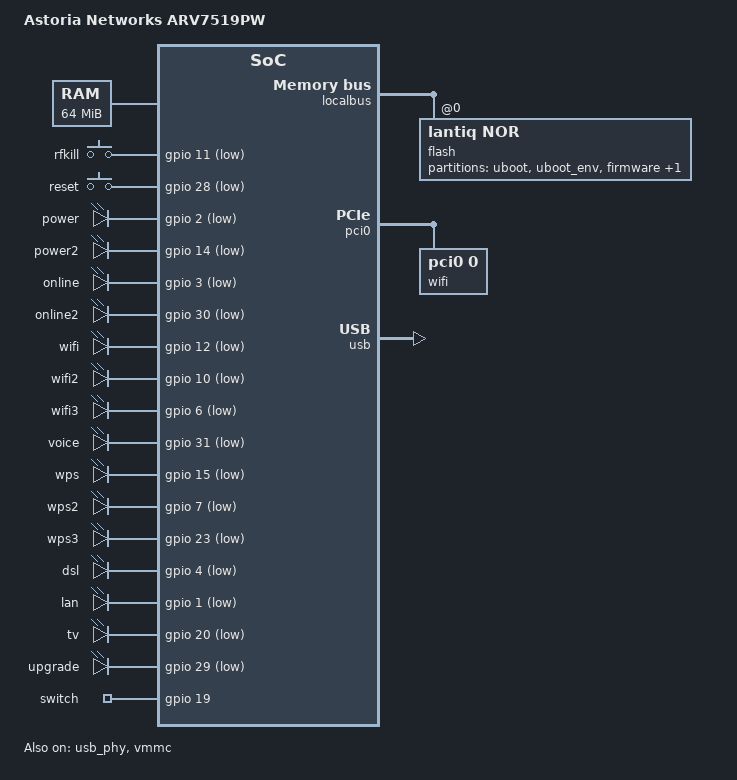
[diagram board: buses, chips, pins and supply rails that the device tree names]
/dts-v1/;

#include "danube.dtsi"

#include <dt-bindings/input/input.h>

/ {
	compatible = "arcadyan,arv7519pw", "lantiq,xway", "lantiq,danube";
	model = "Astoria Networks ARV7519PW";

	chosen {
		bootargs = "console=ttyLTQ0,115200";
	};

	aliases {
		led-boot = &power;
		led-failsafe = &power2;
		led-running = &power;
		led-upgrade = &power;

		led-dsl = &dsl;
		led-internet = &online;
		led-wifi = &wifi;
	};

	memory@0 {
		device_type = "memory";
		reg = <0x0 0x4000000>;
	};

	keys {
		compatible = "gpio-keys-polled";
		poll-interval = <100>;

		rfkill {
			label = "rfkill";
			gpios = <&gpio 11 GPIO_ACTIVE_LOW>;
			linux,code = <KEY_RFKILL>;
		};
		reset {
			label = "reset";
			gpios = <&gpio 28 GPIO_ACTIVE_LOW>;
			linux,code = <KEY_RESTART>;
		};
	};

	leds {
		compatible = "gpio-leds";
		power: power {
			label = "power";
			gpios = <&gpio 2 GPIO_ACTIVE_LOW>;
			default-state = "keep";
		};
		power2: power2 {
			label = "power2";
			gpios = <&gpio 14 GPIO_ACTIVE_LOW>;
		};
		online: online {
			label = "online";
			gpios = <&gpio 3 GPIO_ACTIVE_LOW>;
		};
		online2 {
			label = "online2";
			gpios = <&gpio 30 GPIO_ACTIVE_LOW>;
		};
		wifi: wifi {
			label = "wifi";
			gpios = <&gpio 12 GPIO_ACTIVE_LOW>;
		};
		wifi2 {
			label = "wifi2";
			gpios = <&gpio 10 GPIO_ACTIVE_LOW>;
		};
		wifi3 {
			label = "wifi3";
			gpios = <&gpio 6 GPIO_ACTIVE_LOW>;
		};
		voice {
			label = "voice";
			gpios = <&gpio 31 GPIO_ACTIVE_LOW>;
		};
		wps {
			label = "wps";
			gpios = <&gpio 15 GPIO_ACTIVE_LOW>;
		};
		wps2 {
			label = "wps2";
			gpios = <&gpio 7 GPIO_ACTIVE_LOW>;
		};
		wps3 {
			label = "wps3";
			gpios = <&gpio 23 GPIO_ACTIVE_LOW>;
		};
		dsl: dsl {
			label = "dsl";
			gpios = <&gpio 4 GPIO_ACTIVE_LOW>;
		};
		lan {
			label = "lan";
			gpios = <&gpio 1 GPIO_ACTIVE_LOW>;
		};
		tv {
			label = "tv";
			gpios = <&gpio 20 GPIO_ACTIVE_LOW>;
		};
		upgrade {
			label = "upgrade";
			gpios = <&gpio 29 GPIO_ACTIVE_LOW>;
		};
	};

	/* is there another way to "reserve" the GPIO? */
	gpio_export {
		compatible = "gpio-export";
		#size-cells = <0>;

		switch {
			gpio-export,name = "switch";
			gpio-export,output = <1>;
			gpios = <&gpio 19 GPIO_ACTIVE_HIGH>;
		};
	};
};

&gpio {
	pinctrl-names = "default";
	pinctrl-0 = <&state_default>;

	state_default: pinmux {
		ebu {
			lantiq,groups = "ebu cs1";
			lantiq,function = "ebu";
		};
		pci_in {
			lantiq,groups = "req1";
			lantiq,function = "pci";
			lantiq,open-drain = <1>;
			lantiq,pull = <2>;
			lantiq,output = <0>;
		};
		pci_out {
			lantiq,groups = "gnt1";
			lantiq,function = "pci";
			lantiq,pull = <0>;
			lantiq,output = <1>;
		};
		pci_rst {
			lantiq,pins = "io21";
			lantiq,pull = <2>;
			lantiq,output = <1>;
		};
		switch_rst {
			lantiq,pins = "io19";
			lantiq,pull = <2>;
			lantiq,output = <1>;
		};
	};
};

&gsw {
	phy-mode = "mii";
	mtd-mac-address = <&boardconfig 0x16>;
};

&localbus {
	flash@0 {
		compatible = "lantiq,nor";
		bank-width = <2>;
		reg = <0 0x0 0x2000000>;

		partitions {
			compatible = "fixed-partitions";
			#address-cells = <1>;
			#size-cells = <1>;

			partition@0 {
				label = "uboot";
				reg = <0x00000 0x40000>;
				read-only;
			};

			partition@40000 {
				label = "uboot_env";
				reg = <0x40000 0x20000>;
			};

			partition@60000 {
				label = "firmware";
				reg = <0x60000 0xf80000>;
			};

			boardconfig: partition@fe0000 {
				label = "board_config";
				reg = <0xfe0000 0x20000>;
				read-only;
			};
		};
	};
};

&pci0 {
	status = "okay";
	lantiq,external-clock;
	gpio-reset = <&gpio 21 GPIO_ACTIVE_HIGH>;
	req-mask = <0xf>;

	wifi@0,0 {
		compatible = "pci0,0";
		reg = <0x7000 0 0 0 0>;
		ralink,mtd-eeprom = <&boardconfig 0x410>;
		ralink,mtd-eeprom-swap;
	};
};

&usb_phy {
	status = "okay";
};

/* warning: passive port only works with active devices */
&usb {
	status = "okay";
};

&vmmc {
	status = "okay";
};
